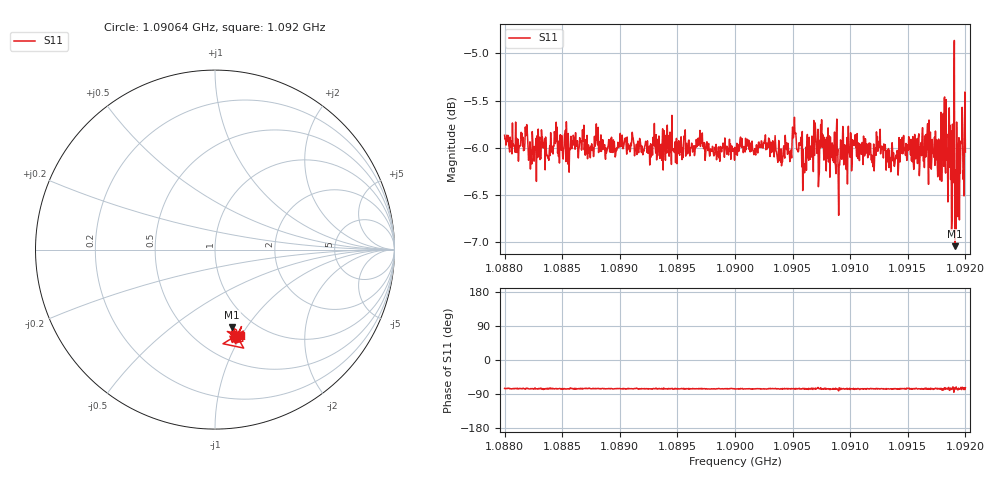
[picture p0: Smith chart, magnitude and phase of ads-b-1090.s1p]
! Calibrated averaged scanner-service zoom
# Hz S RI R 50
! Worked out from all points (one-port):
!   1001 points, 1.088 GHz to 1.092 GHz, reference 50 ohm
!   lowest |S11| = -7.0 dB at 1.09191 GHz (marker M1), VSWR 2.60, Z = 39.9 - j43.1 ohm
!   |S11| at or under -10 dB: nowhere
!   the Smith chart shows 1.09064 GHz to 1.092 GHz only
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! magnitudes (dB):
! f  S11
! 1.088 GHz  -5.9
! 1.08823 GHz  -6.0
! 1.0885 GHz  -5.9
! 1.089 GHz  -5.9
! 1.0895 GHz  -5.9
! 1.09 GHz  -6.0
! 1.09028 GHz  -6.0
! 1.09039 GHz  -6.0
! 1.0905 GHz  -5.8
! 1.0906 GHz  -6.2
! 1.09076 GHz  -6.0
! 1.09089 GHz  -6.1
! 1.091 GHz  -6.1
! 1.0912 GHz  -6.0
! 1.09125 GHz  -6.0
! 1.0914 GHz  -6.1
! 1.0915 GHz  -6.0
! 1.09167 GHz  -5.9
! 1.09178 GHz  -5.9
! 1.09182 GHz  -5.5
! 1.09186 GHz  -6.2
! 1.09188 GHz  -6.8
! 1.0919 GHz  -5.6
! 1.09191 GHz  -7.0
! 1.09192 GHz  -5.7
! 1.09193 GHz  -6.6
! 1.09196 GHz  -6.3
! 1.092 GHz  -6.0
